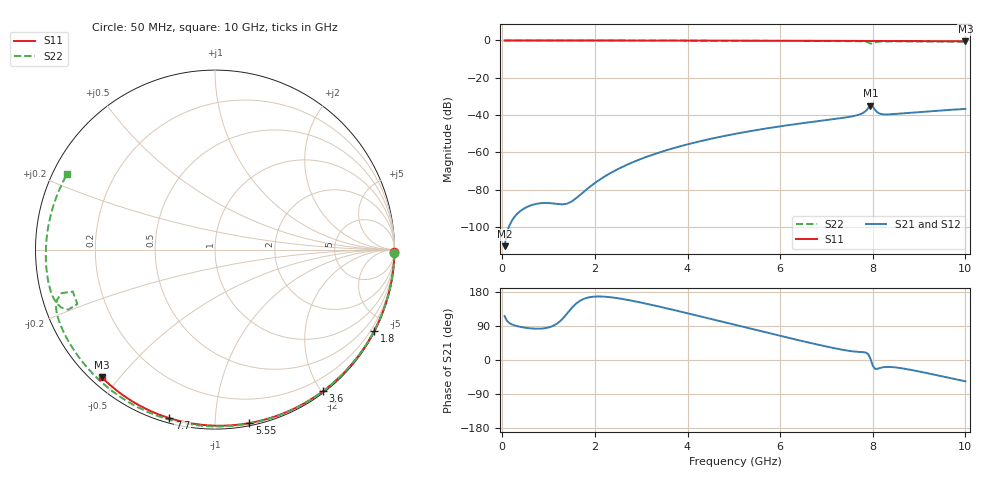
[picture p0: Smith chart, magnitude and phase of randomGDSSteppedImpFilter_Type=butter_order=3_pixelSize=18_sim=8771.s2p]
! freq	dB(S11)	phase(S11)	dB(S12)	phase(S12)
!  dB(S21)	phase(S21)	dB(S22)	phase(S22)
!S-par simulation data
#  GHz  S  DB  R 50
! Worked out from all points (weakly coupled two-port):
!   200 points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, 50 MHz to 10 GHz, reference 50 ohm
!   highest |S21| = -34.95 dB at 7.95 GHz (marker M1); lowest = -110.3 dB at 50 MHz (marker M2)
!   lowest |S11| = -0.4 dB at 10 GHz (marker M3), VSWR 39.17, Z = 1.53 - j22.4 ohm
!   |S11| at or under -10 dB: nowhere
!   |S22| runs from -1.7 to 0.0 dB; largest |S21 - S12| = 0
!   S11 on the Smith chart (normalised r, x): 50 MHz: open; 1.8 GHz: 0.04, -4.17; 3.6 GHz: 0.02, -2.02; 5.55 GHz: 0.02, -1.22; 7.7 GHz: 0.02, -0.76; 10 GHz: 0.03, -0.45
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0.05  -0.00 -0.8  -110.32 115.9  -110.32 115.9  -0.00 -1.1
0.85  -0.01 -12.9  -87.24 83.0  -87.24 83.0  -0.02 -18.7
1.75  -0.03 -26.2  -81.34 160.7  -81.34 160.7  -0.05 -38.1
1.8  -0.03 -27.0  -80.29 163.0  -80.29 163.0  -0.05 -39.2
2.15  -0.04 -32.1  -73.89 167.5  -73.89 167.5  -0.06 -46.6
2.5  -0.05 -37.2  -68.94 162.9  -68.94 162.9  -0.07 -53.9
2.9  -0.06 -42.9  -64.47 154.0  -64.47 154.0  -0.08 -62.1
3.4  -0.07 -50.0  -60.00 140.6  -60.00 140.6  -0.10 -72.3
3.6  -0.07 -52.7  -58.46 134.9  -58.46 134.9  -0.10 -76.3
4.3  -0.09 -62.3  -53.89 114.4  -53.89 114.4  -0.13 -90.0
5.05  -0.11 -72.3  -49.99 92.0  -49.99 92.0  -0.16 -104.5
5.55  -0.13 -78.8  -47.80 77.0  -47.80 77.0  -0.19 -114.1
6.7  -0.18 -93.2  -43.64 43.6  -43.64 43.6  -0.27 -136.2
7.7  -0.24 -105.2  -39.82 21.3  -39.82 21.3  -0.43 -157.5
7.85  -0.25 -107.0  -37.77 19.7  -37.77 19.7  -0.69 -162.4
7.95  -0.26 -108.1  -34.95 3.4  -34.95 3.4  -1.66 -163.5
8  -0.26 -108.7  -35.37 -15.2  -35.37 -15.2  -1.67 -158.4
8.05  -0.26 -109.3  -37.24 -23.5  -37.24 -23.5  -1.08 -157.7
8.15  -0.27 -110.5  -39.24 -21.3  -39.24 -21.3  -0.62 -161.2
8.35  -0.29 -112.8  -39.61 -18.3  -39.61 -18.3  -0.49 -166.9
9.2  -0.36 -122.6  -38.03 -35.3  -38.03 -35.3  -0.55 173.2
10  -0.44 -131.6  -36.71 -56.2  -36.71 -56.2  -0.67 153.0
